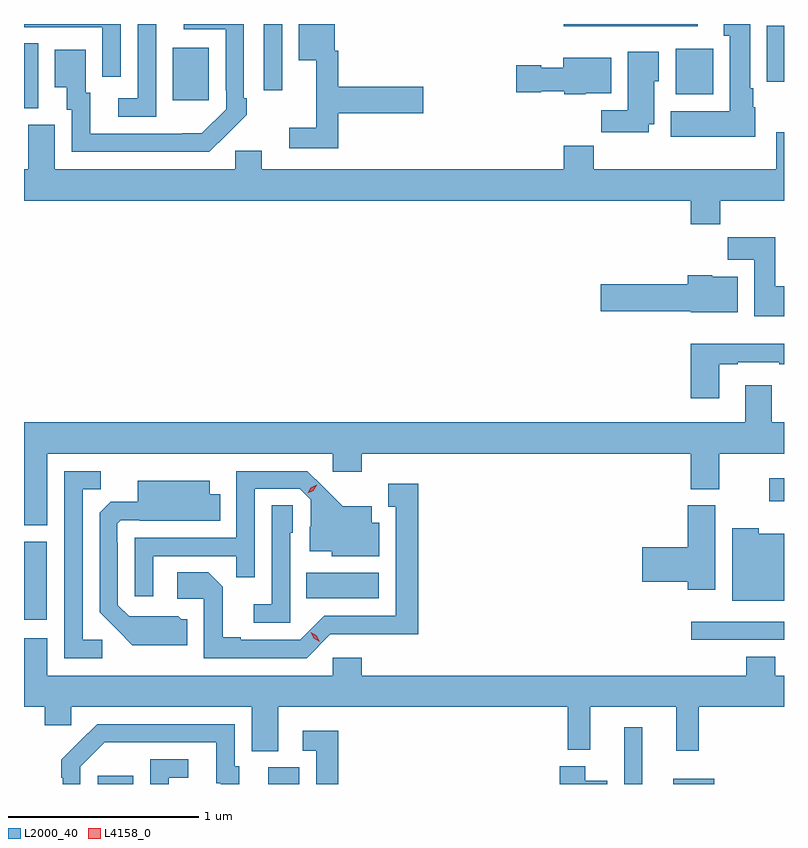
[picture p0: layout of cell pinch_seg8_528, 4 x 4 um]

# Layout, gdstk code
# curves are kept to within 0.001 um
import gdstk
lib = gdstk.Library(unit=1e-6, precision=1e-09)
def R(c, l, rs):  # rectangles x0, y0, x1, y1
    for r in rs: c.add(gdstk.rectangle(r[:2], r[2:], *l))
def P(c, l, *ps):  # polygons
    for p in ps: c.add(gdstk.Polygon(p, *l))
L2000_40 = (2000, 40)
L4158_0 = (4158, 0)

pinch_seg8_528 = lib.new_cell('pinch_seg8_528')
R(pinch_seg8_528, L2000_40, [(118.067,1104.105,118.255,1104.148), (118.964,1104.105,119.128,1104.192), (120.837,1104.105,120.934,1104.403), (121.097,1104.105,121.312,1104.133), (121.191,1104.864,121.679,1104.96), (117.679,1104.969,117.799,1105.381), (119.164,1105.082,119.545,1105.216), (121.602,1105.592,121.679,1105.714), (117.679,1107.661,117.754,1108.004), (118.463,1107.705,118.651,1107.979), (121.109,1107.734,121.306,1107.976), (118.941,1107.756,119.037,1108.105), (121.589,1107.8,121.679,1108.096), (120.521,1108.094,121.225,1108.105)])
P(pinch_seg8_528, L2000_40, [(118.745,1107.523),(118.746,1107.522),(118.851,1107.627),(118.851,1107.715),(118.836,1107.715),(118.836,1108.105),(118.521,1108.105),(118.521,1108.077),(118.74,1108.077),(118.74,1107.757),(118.743,1107.757),(118.743,1107.657),(118.615,1107.529),(118.027,1107.528),(118.027,1107.744),(118.003,1107.744),(118.003,1107.97),(117.842,1107.97),(117.842,1107.773),(117.905,1107.773),(117.905,1107.654),(117.93,1107.654),(117.93,1107.432),(118.654,1107.432)],
  [(118.374,1108.075),(118.375,1108.075),(118.375,1108.105),(118.278,1108.105),(118.278,1107.714),(118.176,1107.714),(118.176,1107.618),(118.374,1107.618)],
  [(121.528,1107.666),(121.516,1107.666),(121.516,1107.766),(121.501,1107.766),(121.501,1108.105),(121.361,1108.105),(121.361,1108.043),(121.394,1108.043),(121.394,1107.646),(121.082,1107.646),(121.082,1107.512),(121.528,1107.512)],
  [(119.333,1107.634),(119.779,1107.634),(119.779,1107.776),(119.333,1107.776),(119.333,1107.963),(119.314,1107.963),(119.314,1108.105),(119.126,1108.105),(119.126,1107.914),(119.216,1107.914),(119.216,1107.559),(119.076,1107.559),(119.076,1107.45),(119.333,1107.45)],
  [(118.188,1108.082),(118.187,1108.082),(118.187,1108.105),(117.679,1108.105),(117.679,1108.089),(118.092,1108.089),(118.092,1107.828),(118.188,1107.828)],
  [(120.967,1107.578),(120.997,1107.578),(120.997,1107.804),(121.021,1107.804),(121.021,1107.958),(120.857,1107.958),(120.857,1107.652),(120.718,1107.652),(120.718,1107.534),(120.967,1107.534)],
  [(120.636,1107.74),(120.769,1107.74),(120.769,1107.928),(120.518,1107.928),(120.518,1107.874),(120.402,1107.874),(120.402,1107.887),(120.27,1107.887),(120.27,1107.745),(120.402,1107.745),(120.402,1107.752),(120.522,1107.752),(120.522,1107.734),(120.636,1107.734)],
  [(121.343,1107.176),(121.679,1107.176),(121.679,1107.535),(121.637,1107.535),(121.637,1107.34),(120.677,1107.34),(120.677,1107.464),(120.521,1107.464),(120.521,1107.34),(118.93,1107.34),(118.93,1107.438),(118.791,1107.438),(118.791,1107.34),(117.841,1107.34),(117.841,1107.576),(117.701,1107.576),(117.701,1107.34),(117.679,1107.34),(117.679,1107.176),(121.187,1107.176),(121.187,1107.052),(121.343,1107.052)],
  [(121.679,1106.724),(121.633,1106.724),(121.633,1106.982),(121.384,1106.982),(121.384,1106.864),(121.523,1106.864),(121.523,1106.568),(121.679,1106.568)],
  [(121.435,1106.776),(121.302,1106.776),(121.302,1106.782),(121.172,1106.782),(121.172,1106.736),(120.714,1106.736),(120.714,1106.594),(121.188,1106.594),(121.188,1106.588),(121.435,1106.588)],
  [(121.339,1106.313),(121.435,1106.313),(121.435,1106.325),(121.655,1106.325),(121.655,1106.313),(121.679,1106.313),(121.679,1106.422),(121.187,1106.422),(121.187,1106.136),(121.339,1106.136)],
  [(117.802,1105.844),(119.304,1105.844),(119.304,1105.749),(119.456,1105.749),(119.456,1105.844),(121.187,1105.844),(121.187,1105.657),(121.339,1105.657),(121.339,1105.844),(121.679,1105.844),(121.679,1106.008),(121.615,1106.008),(121.615,1106.203),(121.475,1106.203),(121.475,1106.008),(117.679,1106.008),(117.679,1105.466),(117.802,1105.466)],
  [(118.09,1104.864),(117.987,1104.864),(117.987,1105.657),(118.083,1105.657),(118.083,1105.752),(117.891,1105.752),(117.891,1104.768),(118.09,1104.768)],
  [(118.359,1105.305),(118.795,1105.305),(118.795,1105.192),(118.893,1105.192),(118.893,1105.659),(119.13,1105.659),(119.187,1105.602),(119.187,1105.46),(119.183,1105.46),(119.183,1105.331),(119.298,1105.331),(119.298,1105.304),(119.548,1105.304),(119.548,1105.48),(119.509,1105.48),(119.509,1105.567),(119.357,1105.567),(119.17,1105.752),(118.797,1105.752),(118.797,1105.401),(118.263,1105.401),(118.263,1105.092),(118.359,1105.092)],
  [(118.537,1104.972),(118.506,1104.972),(118.49,1104.988),(118.233,1104.987),(118.173,1105.047),(118.173,1105.376),(118.17,1105.376),(118.17,1105.476),(118.188,1105.494),(118.288,1105.494),(118.288,1105.49),(118.712,1105.49),(118.712,1105.63),(118.657,1105.63),(118.657,1105.702),(118.277,1105.702),(118.277,1105.591),(118.136,1105.591),(118.077,1105.532),(118.077,1105.01),(118.249,1104.836),(118.537,1104.836)],
  [(119.292,1104.894),(119.755,1104.893),(119.755,1105.684),(119.597,1105.684),(119.597,1105.563),(119.636,1105.563),(119.636,1104.99),(119.259,1104.99),(119.133,1104.864),(118.819,1104.864),(118.819,1104.877),(118.725,1104.877),(118.725,1105.144),(118.649,1105.22),(118.485,1105.22),(118.485,1105.08),(118.626,1105.08),(118.626,1104.768),(119.166,1104.768)],
  [(121.318,1105.572),(121.172,1105.572),(121.172,1105.352),(120.933,1105.352),(120.933,1105.169),(121.172,1105.169),(121.172,1105.128),(121.318,1105.128)],
  [(119.079,1105.428),(119.094,1105.428),(119.094,1105.571),(118.983,1105.571),(118.983,1105.051),(118.887,1105.051),(118.887,1104.954),(119.079,1104.954)],
  [(121.679,1105.423),(121.545,1105.423),(121.545,1105.45),(121.406,1105.45),(121.406,1105.07),(121.679,1105.07)],
  [(119.017,1104.512),(120.541,1104.512),(120.541,1104.284),(120.659,1104.284),(120.659,1104.512),(121.112,1104.512),(121.112,1104.279),(121.229,1104.279),(121.229,1104.512),(121.679,1104.512),(121.679,1104.676),(121.633,1104.676),(121.633,1104.775),(121.481,1104.775),(121.481,1104.676),(119.456,1104.676),(119.456,1104.769),(119.304,1104.769),(119.304,1104.676),(117.802,1104.676),(117.802,1104.871),(117.679,1104.871),(117.679,1104.512),(117.788,1104.512),(117.788,1104.414),(117.927,1104.414),(117.927,1104.512),(118.877,1104.512),(118.877,1104.277),(119.017,1104.277)],
  [(117.975,1104.195),(118.104,1104.324),(118.691,1104.324),(118.691,1104.108),(118.715,1104.108),(118.715,1104.105),(118.813,1104.105),(118.813,1104.198),(118.788,1104.198),(118.788,1104.42),(118.064,1104.42),(117.973,1104.329),(117.972,1104.33),(117.875,1104.232),(117.875,1104.137),(117.882,1104.137),(117.882,1104.105),(117.975,1104.105)],
  [(119.333,1104.385),(119.145,1104.385),(119.145,1104.279),(119.217,1104.279),(119.217,1104.105),(119.333,1104.105)],
  [(118.44,1104.138),(118.543,1104.138),(118.543,1104.234),(118.344,1104.234),(118.344,1104.105),(118.44,1104.105)],
  [(120.748,1104.121),(120.634,1104.121),(120.634,1104.199),(120.5,1104.199),(120.5,1104.105),(120.748,1104.105)])
P(pinch_seg8_528, L4158_0, [(119.236,1104.853),(119.205,1104.872),(119.187,1104.905),(119.187,1104.905),(119.188,1104.905),(119.219,1104.886),(119.236,1104.853),(119.236,1104.853)],
  [(119.172,1105.634),(119.172,1105.634),(119.189,1105.664),(119.219,1105.679),(119.22,1105.679),(119.22,1105.678),(119.202,1105.649),(119.172,1105.634)])

lib.write_gds('pinch_seg8_528.gds')
